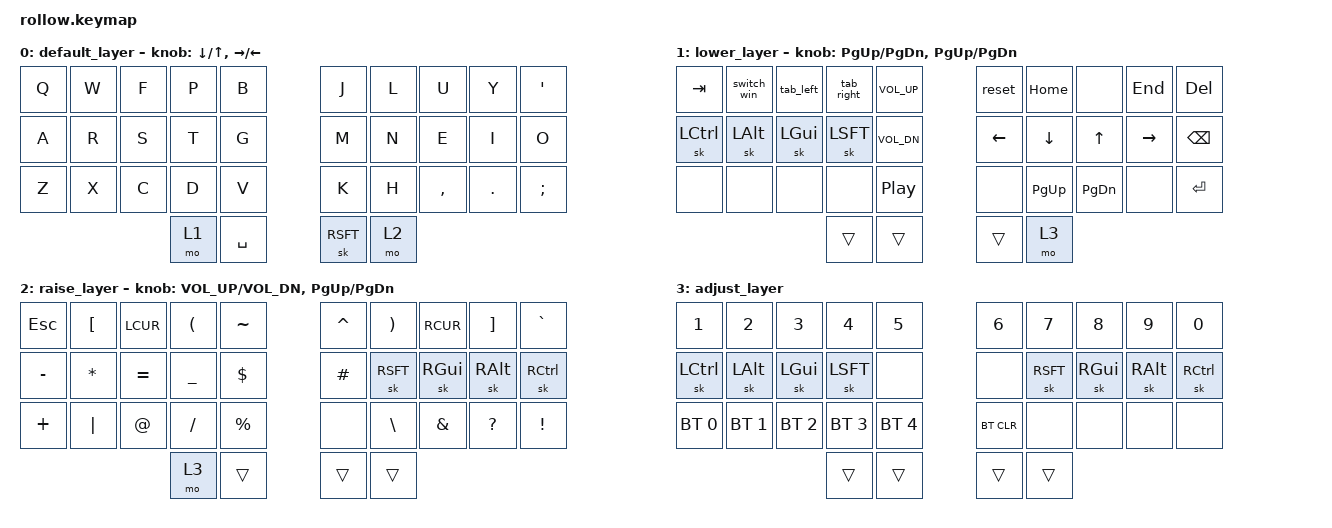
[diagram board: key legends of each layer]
#include <behaviors.dtsi>
#include <dt-bindings/zmk/keys.h>
#include <dt-bindings/zmk/bt.h>

/ {
    behaviors {
    };

    macros {
      switch_win: switch_win {
        label = "ZM_switch_win";
        compatible = "zmk,behavior-macro";
        #binding-cells = <0>;
        wait-ms = <0>;
        tap-ms = <0>;
        bindings
           = <&macro_press &kp LGUI>
           , <&macro_tap &kp TAB>
           , <&macro_release &kp LGUI>
           ;
      };
      tab_left: tab_left {
        label = "ZM_tab_left";
        compatible = "zmk,behavior-macro";
        #binding-cells = <0>;
        wait-ms = <0>;
        tap-ms = <0>;
        bindings
           = <&macro_press &kp LCTL>
           , <&macro_press &kp LSFT>
           , <&macro_tap &kp TAB>
           , <&macro_release &kp LSFT>
           , <&macro_release &kp LCTL>
           ;
      };
      tab_right: tab_right {
        label = "ZM_tab_right";
        compatible = "zmk,behavior-macro";
        #binding-cells = <0>;
        wait-ms = <0>;
        tap-ms = <0>;
        bindings
           = <&macro_press &kp LCTL>
           , <&macro_tap &kp TAB>
           , <&macro_release &kp LCTL>
           ;
      };
 
    };

        keymap {
                compatible = "zmk,keymap";

                default_layer {
// ---------------------------------------------------------------------------
// |    |  Q  |  W  |  F  |  P  |  B  |   |  J  |  L  |  U  |  Y  |  '  |    |
// |    |  A  |  R  |  S  |  T  |  G  |   |  M  |  N  |  E  |  I  |  O  |    |
// |    |  Z  |  X  |  C  |  D  |  V  |   |  K  |  H  |  ,  |  .  |  ;  |    |
//                        | LWR | SPC |   | SFT | RSE |
                        bindings = <
    &kp Q &kp W &kp F &kp P &kp B     &kp J &kp L &kp U      &kp Y   &kp SQT  
    &kp A &kp R &kp S &kp T &kp G     &kp M &kp N &kp E      &kp I   &kp O    
    &kp Z &kp X &kp C &kp D &kp V     &kp K &kp H &kp COMMA  &kp DOT &kp SCLN 
                    &mo 1 &kp SPC     &sk RSFT &mo 2
                       >;
                      sensor-bindings = <&inc_dec_kp DOWN UP &inc_dec_kp RIGHT LEFT>;
               };

                lower_layer {
// -------------------------------------------------------------------------------------
// |    |  tab | swin | tabl | tabr | vlup |   | rset | home | cpsl |  end |  del |    |
// |    | ctrl |  alt |  cmd | shft | vldn |   | left | down |   up | rght | bspc |    |
// |    | spcl | spcr | back |  fwd | play |   |      | pdwn | pgup | swpl | entr |    |
//                           |      |      |   | ADJ  |      |
                        bindings = <
    &kp TAB  &switch_win &tab_left &tab_right &kp C_VOL_UP     &reset   &kp HOME  &none     &kp END   &kp DEL  
    &sk LCTL &sk LALT    &sk LGUI  &sk LSFT   &kp C_VOL_DN     &kp LEFT &kp DOWN  &kp UP    &kp RIGHT &kp BSPC 
    &none    &none       &none     &none      &kp C_PP         &none    &kp PG_UP &kp PG_DN &none     &kp RET  
                                             &trans &trans     &trans &mo 3
                      >;
                      sensor-bindings = <&inc_dec_kp PG_UP PG_DN &inc_dec_kp PG_UP PG_DN>;
                };

                raise_layer {
// ---------------------------------------------------------------------------
// |    | ESC |  [  |  {  |  (  |  ~  |   |  ^   |  )  |  }  |  ]  |  `  |    |
// |    |  -  |  *  |  =  |  _  |  $  |   |  #  | SFT | CMD | ALT | CTL |    |
// |    |  +  |  |  |  @  |  /  |  %  |   |     |  \  |  &  |  ?  |  !  |    |
//                        |     | ADJ |   |     |     |
                        bindings = <
    &kp ESC   &kp LBKT &kp LCUR  &kp LPAR  &kp TILDE     &kp CARET &kp RPAR &kp RCUR &kp RBKT  &kp GRAVE 
    &kp MINUS &kp STAR &kp EQUAL &kp UNDER &kp DLLR      &kp HASH  &sk RSFT &sk RGUI &sk RALT  &sk RCTL  
    &kp PLUS  &kp PIPE &kp AT    &kp FSLH  &kp PRCNT     &none     &kp BSLH &kp AMPS &kp QMARK &kp EXCL  
                                        &mo 3 &trans     &trans &trans
                       >;
                       sensor-bindings = <&inc_dec_kp C_VOL_UP C_VOL_DN &inc_dec_kp PG_UP PG_DN>;
                };

                adjust_layer {
// -----------------------------------------------------------------------------
// |    |  1  |  2  |  3  |  4  |  5  |   |   6   |  7  |  8  |  9  |  0  |    |  
// |    | CTL | ALT | GUI | SFT |     |   |       | SFT | GUI | ALT | CTL |    |
// |    | bt0 | bt1 | bt2 | bt3 | bt4 |   | btclr |     |     |     |     |    |
//                        |     |     |   |       |     |
                        bindings = <
    &kp N1       &kp N2       &kp N3       &kp N4       &kp N5           &kp N6     &kp N7   &kp N8   &kp N9   &kp N0   
    &sk LCTL     &sk LALT     &sk LGUI     &sk LSFT     &none            &none      &sk RSFT &sk RGUI &sk RALT &sk RCTL 
    &bt BT_SEL 0 &bt BT_SEL 1 &bt BT_SEL 2 &bt BT_SEL 3 &bt BT_SEL 4     &bt BT_CLR &none    &none    &none    &none    
                                                       &trans &trans     &trans &trans
                      >;
                };
        };
};
